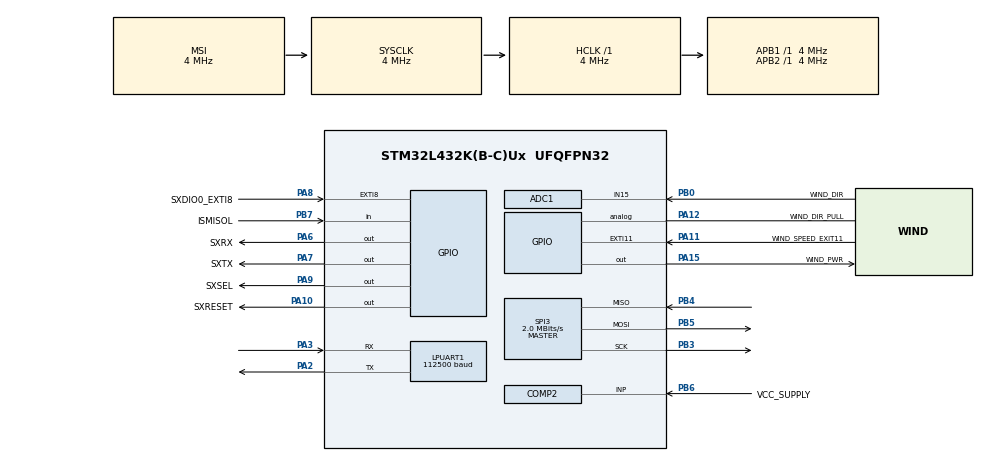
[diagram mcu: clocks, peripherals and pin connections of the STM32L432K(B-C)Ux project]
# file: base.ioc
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Mcu.Family=STM32L4
RCC.CortexFreq_Value=4000000
SPI3.Direction=SPI_DIRECTION_2LINES
SPI3.VirtualType=VM_MASTER
SPI3.NSSPMode=SPI_NSS_PULSE_DISABLE
VP_IWDG_VS_IWDG.Mode=IWDG_Activate
PA2.GPIO_Speed=GPIO_SPEED_FREQ_VERY_HIGH
LPUART1.WordLength=UART_WORDLENGTH_8B
PA6.GPIO_Label=SXRX
PB0.GPIO_Label=WIND_DIR
PB6.GPIO_Label=VCC_SUPPLY
PB4\ (NJTRST).GPIO_Speed=GPIO_SPEED_FREQ_VERY_HIGH
PA15\ (JTDI).Signal=GPIO_Output
PA3.GPIO_Speed=GPIO_SPEED_FREQ_VERY_HIGH
ProjectManager.StackSize=0x400
PB3\ (JTDO-TRACESWO).Signal=SPI3_SCK
PA14\ (JTCK-SWCLK).Signal=SYS_JTCK-SWCLK
RCC.LPUART1CLockSelection=RCC_LPUART1CLKSOURCE_HSI
PA12.Signal=GPIO_Analog
RCC.ADCCLockSelection=RCC_ADCCLKSOURCE_SYSCLK
NVIC.LPUART1_IRQn=true\:6\:0\:true\:false\:true\:true\:true\:true
RCC.HCLKFreq_Value=4000000
ADC1.Resolution=ADC_RESOLUTION_10B
RCC.APB2TimFreq_Value=4000000
PB6.Signal=COMP2_INP
PB6.Mode=INP
RCC.AHBFreq_Value=4000000
SPI3.DataSize=SPI_DATASIZE_8BIT
NVIC.EXTI15_10_IRQn=true\:5\:0\:false\:false\:true\:true\:true\:true
ADC1.Channel-0\#ChannelRegularConversion=ADC_CHANNEL_15
RCC.HSE_VALUE=8000000
FREERTOS.configUSE_TIMERS=0
FREERTOS.configENABLE_BACKWARD_COMPATIBILITY=0
VP_SYS_VS_tim1.Mode=TIM1
PB5.Mode=Full_Duplex_Master
PA10.GPIO_Label=SXRESET
PB7.Signal=GPIO_Input
PA8.Signal=GPXTI8
SH.SharedAnalog_PB0.0=GPIO_Analog
VP_FREERTOS_VS_CMSIS_V1.Mode=CMSIS_V1
ADC1.SamplingTime-0\#ChannelRegularConversion=ADC_SAMPLETIME_2CYCLES_5
FREERTOS.configTOTAL_HEAP_SIZE=56800
Dma.LPUART_RX.0.Direction=DMA_PERIPH_TO_MEMORY
Dma.LPUART_RX.0.Priority=DMA_PRIORITY_MEDIUM
PB7.GPIO_Label=ISMISOL
SH.SharedAnalog_PB0.1=ADC1_IN15,IN15-Single-Ended
Mcu.Package=UFQFPN32
PA6.Signal=GPIO_Output
NVIC.TimeBase=TIM1_UP_TIM16_IRQn
SPI3.Mode=SPI_MODE_MASTER
NVIC.TimeBaseIP=TIM1
COMP2.Mode=COMP_POWERMODE_ULTRALOWPOWER
PA10.Signal=GPIO_Output
PB5.GPIO_Speed=GPIO_SPEED_FREQ_VERY_HIGH
RCC.APB1TimFreq_Value=4000000
PA13\ (JTMS-SWDIO).Signal=SYS_JTMS-SWDIO
Dma.Request0=LPUART_RX
RCC.HSI48_VALUE=48000000
RCC.PLLSAI1N=24
PA3.Signal=LPUART1_RX
Dma.LPUART_RX.0.PeriphDataAlignment=DMA_PDATAALIGN_BYTE
RCC.MSI_VALUE=4000000
RCC.PLLSourceVirtual=RCC_PLLSOURCE_HSI
PA14\ (JTCK-SWCLK).Mode=Serial_Wire
FREERTOS.Tasks01=fanetTask,0,512,fanet_task,As weak,NULL,Dynamic,NULL,NULL;wireTask,-1,512,wire_task,As external,NULL,Dynamic,NULL,NULL;windTask,0,512,wind_task,As external,NULL,Dynamic,NULL,NULL
ADC1.Rank-0\#ChannelRegularConversion=1
ADC1.OffsetNumber-0\#ChannelRegularConversion=ADC_OFFSET_NONE
PA9.GPIO_Label=SXSEL
FREERTOS.INCLUDE_vTaskDelayUntil=1
FREERTOS.configCHECK_FOR_STACK_OVERFLOW=2
FREERTOS.configUSE_TICKLESS_IDLE=0
PA11.GPIO_Label=WIND_SPEED_EXIT11
Dma.LPUART_RX.0.Instance=DMA2_Channel7
PA12.GPIO_Label=WIND_DIR_PULL
Dma.LPUART_RX.0.MemDataAlignment=DMA_MDATAALIGN_BYTE
PA3.Mode=Asynchronous
PA8.GPIO_Label=SXDIO0_EXTI8
ProjectManager.TargetToolchain=STM32CubeIDE
PA9.Signal=GPIO_Output
RCC.USBFreq_Value=192000000
RCC.LSE_VALUE=32768
board=fanet
SPI3.CLKPhase=SPI_PHASE_1EDGE
RCC.VCOOutputFreq_Value=144000000
Dma.LPUART_RX.0.Mode=DMA_CIRCULAR
RCC.APB2Freq_Value=4000000
SPI3.CalculateBaudRate=2.0 MBits/s
PB3\ (JTDO-TRACESWO).Mode=Full_Duplex_Master
RCC.ADCFreq_Value=4000000
SPI3.BaudRatePrescaler=SPI_BAUDRATEPRESCALER_2
PB4\ (NJTRST).Mode=Full_Duplex_Master
PA15\ (JTDI).GPIO_Label=WIND_PWR
Mcu.Name=STM32L432K(B-C)Ux
LPUART1.BaudRate=112500
PA2.Signal=LPUART1_TX
PA13\ (JTMS-SWDIO).Mode=Serial_Wire
RCC.SYSCLKFreq_VALUE=4000000
PB5.Signal=SPI3_MOSI
Dma.LPUART_RX.0.PeriphInc=DMA_PINC_DISABLE
PA7.GPIO_Label=SXTX
ADC1.master=1
PA11.Signal=GPXTI11
NVIC.EXTI9_5_IRQn=true\:7\:0\:true\:false\:true\:true\:true\:true
ProjectManager.HeapSize=0x200
NVIC.DMA2_Channel7_IRQn=true\:5\:0\:false\:false\:true\:true\:false\:true
RCC.HSI_VALUE=16000000
PA8.GPIO_PuPd=GPIO_PULLDOWN
NVIC.TIM1_UP_TIM16_IRQn=true\:0\:0\:false\:false\:true\:false\:false\:true
NVIC.PriorityGroup=NVIC_PRIORITYGROUP_4
RCC.PLLR=RCC_PLLR_DIV8
ADC1.NbrOfConversionFlag=1
RCC.PLLN=9
IWDG.Prescaler=IWDG_PRESCALER_64
PA2.Mode=Asynchronous
Dma.LPUART_RX.0.MemInc=DMA_MINC_ENABLE
PB3\ (JTDO-TRACESWO).GPIO_Speed=GPIO_SPEED_FREQ_VERY_HIGH
PA11.GPIO_ModeDefaultEXTI=GPIO_MODE_IT_FALLING
RCC.APB1Freq_Value=4000000
PB0.Signal=SharedAnalog_PB0
VP_COMP2_VS_VREFINT.Mode=VREFINT
PA7.Signal=GPIO_Output
PB4\ (NJTRST).Signal=SPI3_MISO

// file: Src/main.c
/* USER CODE BEGIN Header */
/**
  ******************************************************************************
  * @file           : main.c
  * @brief          : Main program body
  ******************************************************************************
  * @attention
  *
  * <h2><center>&copy; Copyright (c) 2019 STMicroelectronics.
  * All rights reserved.</center></h2>
  *
  * This software component is licensed by ST under Ultimate Liberty license
  * SLA0044, the "License"; You may not use this file except in compliance with
  * the License. You may obtain a copy of the License at:
  *                             www.st.com/SLA0044
  *
  ******************************************************************************
  */
/* USER CODE END Header */
#include "main.h"
#include "cmsis_os.h"
#include "adc.h"
#include "comp.h"
#include "dma.h"
#include "iwdg.h"
#include "usart.h"
#include "spi.h"
#include "gpio.h"

/* USER CODE BEGIN Includes */
#include <stdio.h>
#include "fanet/fanet.h"
#include "hal/wind.h"
/* USER CODE END Includes */

/* USER CODE BEGIN PV */
/* Private variables ---------------------------------------------------------*/

/* USER CODE END PV */

void SystemClock_Config(void);
void MX_FREERTOS_Init(void);
/* USER CODE BEGIN PFP */
/* Private function prototypes -----------------------------------------------*/
#ifdef DEBUG
	extern void initialise_monitor_handles(void);
#endif
/* USER CODE END PFP */

/* USER CODE BEGIN 0 */

/* EXTI wrapper */
void HAL_GPIO_EXTI_Callback(uint16_t GPIO_Pin)
{
	if(GPIO_Pin == WIND_SPEED_EXIT11_Pin)
		wind_irq();
	else if (GPIO_Pin == SXDIO0_EXTI8_Pin)
		fanet_irq();
}

#ifdef DEBUG
void prvGetRegistersFromStack( uint32_t *pulFaultStackAddress )
{
	/* These are volatile to try and prevent the compiler/linker optimising them
	away as the variables never actually get used.  If the debugger won't show the
	values of the variables, make them global my moving their declaration outside
	of this function. */
	volatile uint32_t r0;
	volatile uint32_t r1;
	volatile uint32_t r2;
	volatile uint32_t r3;
	volatile uint32_t r12;
	volatile uint32_t lr; /* Link register. */
	volatile uint32_t pc; /* Program counter. */
	volatile uint32_t psr;/* Program status register. */

	r0 = pulFaultStackAddress[ 0 ];
	r1 = pulFaultStackAddress[ 1 ];
	r2 = pulFaultStackAddress[ 2 ];
	r3 = pulFaultStackAddress[ 3 ];

	r12 = pulFaultStackAddress[ 4 ];
	lr = pulFaultStackAddress[ 5 ];
	pc = pulFaultStackAddress[ 6 ];
	psr = pulFaultStackAddress[ 7 ];

	printf("Fault!\n");
	printf("r0  %08lx\n", r0);
	printf("r1  %08lx\n", r1);
	printf("r2  %08lx\n", r2);
	printf("r3  %08lx\n", r3);
	printf("r12 %08lx\n", r12);
	printf("lr  %08lx <<\n", lr);
	printf("pc  %08lx\n", pc);
	printf("psr %08lx\n", psr);

	/* When the following line is hit, the variables contain the register values. */
	for( ;; );
}
#endif

/* USER CODE END 0 */

int main(void)
{

  /* MCU Configuration--------------------------------------------------------*/

  /* Reset of all peripherals, Initializes the Flash interface and the Systick. */
  HAL_Init();

  /* Configure the system clock */
  SystemClock_Config();

  /* Initialize all configured peripherals */
  MX_GPIO_Init();
  MX_DMA_Init();
  MX_LPUART1_UART_Init();
  MX_SPI3_Init();
  MX_ADC1_Init();
  MX_COMP2_Init();
  MX_IWDG_Init();
  /* USER CODE BEGIN 2 */

  /* Calibrate ADC */
  HAL_ADCEx_Calibration_Start(&hadc1, ADC_SINGLE_ENDED);

#ifdef DEBUG
	/* semihosting */
	initialise_monitor_handles();
	HAL_Delay(10);
	puts("DEBUG\n");
#endif
  /* USER CODE END 2 */

  /* Call init function for freertos objects (in freertos.c) */
  MX_FREERTOS_Init();
  /* Start scheduler */
  osKernelStart();

  /* We should never get here as control is now taken by the scheduler */
  /* Infinite loop */
  while (1)
  {

  }
}

void SystemClock_Config(void)
{
  RCC_OscInitTypeDef RCC_OscInitStruct = {0};
  RCC_ClkInitTypeDef RCC_ClkInitStruct = {0};
  RCC_PeriphCLKInitTypeDef PeriphClkInit = {0};

  /** Initializes the RCC Oscillators according to the specified parameters
  * in the RCC_OscInitTypeDef structure.
  */
  RCC_OscInitStruct.OscillatorType = RCC_OSCILLATORTYPE_HSI|RCC_OSCILLATORTYPE_LSI
                              |RCC_OSCILLATORTYPE_MSI;
  RCC_OscInitStruct.HSIState = RCC_HSI_ON;
  RCC_OscInitStruct.HSICalibrationValue = RCC_HSICALIBRATION_DEFAULT;
  RCC_OscInitStruct.LSIState = RCC_LSI_ON;
  RCC_OscInitStruct.MSIState = RCC_MSI_ON;
  RCC_OscInitStruct.MSICalibrationValue = 0;
  RCC_OscInitStruct.MSIClockRange = RCC_MSIRANGE_6;
  RCC_OscInitStruct.PLL.PLLState = RCC_PLL_NONE;
  if (HAL_RCC_OscConfig(&RCC_OscInitStruct) != HAL_OK)
  {
    Error_Handler();
  }
  /** Initializes the CPU, AHB and APB buses clocks
  */
  RCC_ClkInitStruct.ClockType = RCC_CLOCKTYPE_HCLK|RCC_CLOCKTYPE_SYSCLK
                              |RCC_CLOCKTYPE_PCLK1|RCC_CLOCKTYPE_PCLK2;
  RCC_ClkInitStruct.SYSCLKSource = RCC_SYSCLKSOURCE_MSI;
  RCC_ClkInitStruct.AHBCLKDivider = RCC_SYSCLK_DIV1;
  RCC_ClkInitStruct.APB1CLKDivider = RCC_HCLK_DIV1;
  RCC_ClkInitStruct.APB2CLKDivider = RCC_HCLK_DIV1;

  if (HAL_RCC_ClockConfig(&RCC_ClkInitStruct, FLASH_LATENCY_0) != HAL_OK)
  {
    Error_Handler();
  }
  PeriphClkInit.PeriphClockSelection = RCC_PERIPHCLK_LPUART1|RCC_PERIPHCLK_ADC;
  PeriphClkInit.Lpuart1ClockSelection = RCC_LPUART1CLKSOURCE_HSI;
  PeriphClkInit.AdcClockSelection = RCC_ADCCLKSOURCE_SYSCLK;
  if (HAL_RCCEx_PeriphCLKConfig(&PeriphClkInit) != HAL_OK)
  {
    Error_Handler();
  }
  /** Configure the main internal regulator output voltage
  */
  if (HAL_PWREx_ControlVoltageScaling(PWR_REGULATOR_VOLTAGE_SCALE1) != HAL_OK)
  {
    Error_Handler();
  }
}

 /**
  * @brief  Period elapsed callback in non blocking mode
  * @note   This function is called  when TIM1 interrupt took place, inside
  * HAL_TIM_IRQHandler(). It makes a direct call to HAL_IncTick() to increment
  * a global variable "uwTick" used as application time base.
  * @param  htim : TIM handle
  * @retval None
  */
void HAL_TIM_PeriodElapsedCallback(TIM_HandleTypeDef *htim)
{
  if (htim->Instance == TIM1) {
    HAL_IncTick();
  }
}

void Error_Handler(void)
{
  while(1)
  {
  }
}

/************************ (C) COPYRIGHT STMicroelectronics *****END OF FILE****/

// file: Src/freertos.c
/* USER CODE BEGIN Header */
/**
  ******************************************************************************
  * File Name          : freertos.c
  * Description        : Code for freertos applications
  ******************************************************************************
  * This notice applies to any and all portions of this file
  * that are not between comment pairs USER CODE BEGIN and
  * USER CODE END. Other portions of this file, whether
  * inserted by the user or by software development tools
  * are owned by their respective copyright owners.
  *
  * Copyright (c) 2018 STMicroelectronics International N.V.
  * All rights reserved.
  *
  * Redistribution and use in source and binary forms, with or without
  * modification, are permitted, provided that the following conditions are met:
  *
  * 1. Redistribution of source code must retain the above copyright notice,
  *    this list of conditions and the following disclaimer.
  * 2. Redistributions in binary form must reproduce the above copyright notice,
  *    this list of conditions and the following disclaimer in the documentation
  *    and/or other materials provided with the distribution.
  * 3. Neither the name of STMicroelectronics nor the names of other
  *    contributors to this software may be used to endorse or promote products
  *    derived from this software without specific written permission.
  * 4. This software, including modifications and/or derivative works of this
  *    software, must execute solely and exclusively on microcontroller or
  *    microprocessor devices manufactured by or for STMicroelectronics.
  * 5. Redistribution and use of this software other than as permitted under
  *    this license is void and will automatically terminate your rights under
  *    this license.
  *
  * THIS SOFTWARE IS PROVIDED BY STMICROELECTRONICS AND CONTRIBUTORS "AS IS"
  * AND ANY EXPRESS, IMPLIED OR STATUTORY WARRANTIES, INCLUDING, BUT NOT
  * LIMITED TO, THE IMPLIED WARRANTIES OF MERCHANTABILITY, FITNESS FOR A
  * PARTICULAR PURPOSE AND NON-INFRINGEMENT OF THIRD PARTY INTELLECTUAL PROPERTY
  * RIGHTS ARE DISCLAIMED TO THE FULLEST EXTENT PERMITTED BY LAW. IN NO EVENT
  * SHALL STMICROELECTRONICS OR CONTRIBUTORS BE LIABLE FOR ANY DIRECT, INDIRECT,
  * INCIDENTAL, SPECIAL, EXEMPLARY, OR CONSEQUENTIAL DAMAGES (INCLUDING, BUT NOT
  * LIMITED TO, PROCUREMENT OF SUBSTITUTE GOODS OR SERVICES; LOSS OF USE, DATA,
  * OR PROFITS; OR BUSINESS INTERRUPTION) HOWEVER CAUSED AND ON ANY THEORY OF
  * LIABILITY, WHETHER IN CONTRACT, STRICT LIABILITY, OR TORT (INCLUDING
  * NEGLIGENCE OR OTHERWISE) ARISING IN ANY WAY OUT OF THE USE OF THIS SOFTWARE,
  * EVEN IF ADVISED OF THE POSSIBILITY OF SUCH DAMAGE.
  *
  ******************************************************************************
  */
/* USER CODE END Header */

#include "FreeRTOS.h"
#include "task.h"
#include "main.h"
#include "cmsis_os.h"

/* USER CODE BEGIN Includes */
#include <stdio.h>
#include "fanet/fanet.h"
#include "hal/wind.h"
#include "hal/serial/serial_interface.h"
#include "hal/sht2x/sht2x.h"
/* USER CODE END Includes */

/* USER CODE BEGIN PD */
osMutexId adcMutex;
/* USER CODE END PD */

/* USER CODE BEGIN Variables */
osThreadId sht20TaskHandle;
/* USER CODE END Variables */
osThreadId fanetTaskHandle;
osThreadId wireTaskHandle;
osThreadId windTaskHandle;

/* USER CODE BEGIN FunctionPrototypes */
extern void sht2x_task(void const * argument);
/* USER CODE END FunctionPrototypes */

void fanet_task(void const * argument);
extern void wire_task(void const * argument);
extern void wind_task(void const * argument);

void MX_FREERTOS_Init(void); /* (MISRA C 2004 rule 8.1) */

/* GetIdleTaskMemory prototype (linked to static allocation support) */
void vApplicationGetIdleTaskMemory( StaticTask_t **ppxIdleTaskTCBBuffer, StackType_t **ppxIdleTaskStackBuffer, uint32_t *pulIdleTaskStackSize );

/* Hook prototypes */
void vApplicationStackOverflowHook(TaskHandle_t xTask, signed char *pcTaskName);

/* USER CODE BEGIN 4 */
void vApplicationStackOverflowHook(TaskHandle_t xTask, signed char *pcTaskName)
{
   /* Run time stack overflow checking is performed if configCHECK_FOR_STACK_OVERFLOW
    * is defined to 1 or 2. This hook function is called if a stack overflow is detected. */
#ifdef DEBUG
	printf("Stack Overflow %s\n", pcTaskName);
#endif
}
/* USER CODE END 4 */

/* USER CODE BEGIN GET_IDLE_TASK_MEMORY */
static StaticTask_t xIdleTaskTCBBuffer;
static StackType_t xIdleStack[configMINIMAL_STACK_SIZE];

void vApplicationGetIdleTaskMemory( StaticTask_t **ppxIdleTaskTCBBuffer, StackType_t **ppxIdleTaskStackBuffer, uint32_t *pulIdleTaskStackSize )
{
  *ppxIdleTaskTCBBuffer = &xIdleTaskTCBBuffer;
  *ppxIdleTaskStackBuffer = &xIdleStack[0];
  *pulIdleTaskStackSize = configMINIMAL_STACK_SIZE;
  /* place for user code */
}
/* USER CODE END GET_IDLE_TASK_MEMORY */

void MX_FREERTOS_Init(void) {

  /* USER CODE BEGIN RTOS_MUTEX */
  /* add mutexes, ... */
	fanet_rtos();
	wind_rtos();

	osMutexDef(adcMutex);
	adcMutex = osMutexCreate(osMutex(adcMutex));
  /* USER CODE END RTOS_MUTEX */

  /* Create the thread(s) */
  /* definition and creation of fanetTask */
  osThreadDef(fanetTask, fanet_task, osPriorityNormal, 0, 512);
  fanetTaskHandle = osThreadCreate(osThread(fanetTask), NULL);

  /* definition and creation of wireTask */
  osThreadDef(wireTask, wire_task, osPriorityBelowNormal, 0, 512);
  wireTaskHandle = osThreadCreate(osThread(wireTask), NULL);

  /* definition and creation of windTask */
  osThreadDef(windTask, wind_task, osPriorityNormal, 0, 512);
  windTaskHandle = osThreadCreate(osThread(windTask), NULL);

  /* USER CODE BEGIN RTOS_THREADS */
#ifdef SHTTASK
  osThreadDef(sht2xTask, sht2x_task, osPriorityLow, 0, 256);
  sht20TaskHandle = osThreadCreate(osThread(sht2xTask), NULL);
#endif
  /* USER CODE END RTOS_THREADS */

}

__weak void fanet_task(void const * argument)
{
  for(;;)
  {
    osDelay(1);
  }
}

/************************ (C) COPYRIGHT STMicroelectronics *****END OF FILE****/
